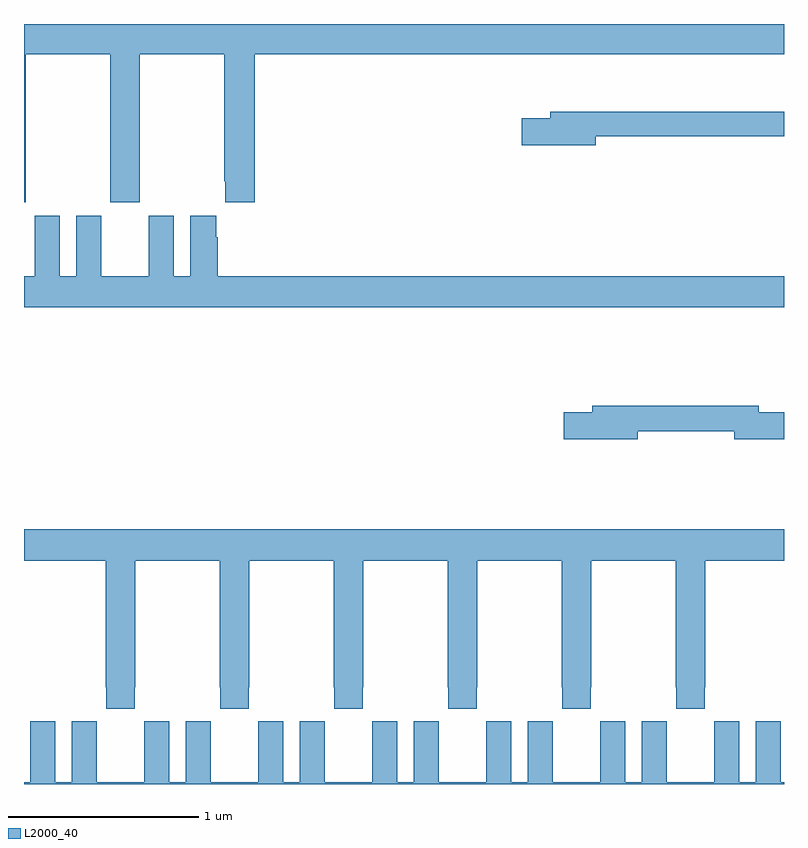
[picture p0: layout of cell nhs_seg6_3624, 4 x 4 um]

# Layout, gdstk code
import gdstk
lib = gdstk.Library(unit=1e-6, precision=1e-09)
def P(c, l, *ps):  # polygons
    for p in ps: c.add(gdstk.Polygon(p, *l))
L2000_40 = (2000, 40)

nhs_seg6_3624 = lib.new_cell('nhs_seg6_3624')
P(nhs_seg6_3624, L2000_40, [(323.01,943.34),(323.455,943.34),(323.455,942.561),(323.61,942.561),(323.61,943.34),(324.055,943.34),(324.055,942.673),(324.059,942.673),(324.059,942.561),(324.215,942.561),(324.215,943.34),(327,943.34),(327,943.5),(323,943.5),(323,942.561),(323.01,942.561)],
  [(326.008,942.91),(327,942.91),(327,943.039),(325.769,943.039),(325.769,943.005),(325.62,943.005),(325.62,942.863),(326.008,942.863)],
  [(327,942.172),(324.02,942.172),(324.02,942.377),(324.013,942.377),(324.013,942.49),(323.876,942.49),(323.876,942.172),(323.788,942.172),(323.788,942.49),(323.657,942.49),(323.657,942.172),(323.407,942.172),(323.407,942.49),(323.276,942.49),(323.276,942.172),(323.188,942.172),(323.188,942.49),(323.057,942.49),(323.057,942.172),(323,942.172),(323,942.008),(327,942.008)],
  [(326.23,941.356),(326.738,941.356),(326.738,941.314),(327,941.314),(327,941.456),(326.866,941.456),(326.866,941.492),(325.991,941.492),(325.991,941.456),(325.842,941.456),(325.842,941.314),(326.23,941.314)],
  [(323.583,940.009),(323.586,940.009),(323.586,940.676),(324.031,940.676),(324.031,940.009),(324.033,940.009),(324.033,939.897),(324.183,939.897),(324.183,940.009),(324.186,940.009),(324.186,940.676),(324.631,940.676),(324.631,940.009),(324.633,940.009),(324.633,939.897),(324.783,939.897),(324.783,940.009),(324.786,940.009),(324.786,940.676),(325.231,940.676),(325.231,940.009),(325.233,940.009),(325.233,939.897),(325.383,939.897),(325.383,940.009),(325.386,940.009),(325.386,940.676),(325.831,940.676),(325.831,940.009),(325.833,940.009),(325.833,939.897),(325.983,939.897),(325.983,940.009),(325.986,940.009),(325.986,940.676),(326.431,940.676),(326.431,940.009),(326.433,940.009),(326.433,939.897),(326.583,939.897),(326.583,940.009),(326.586,940.009),(326.586,940.676),(327,940.676),(327,940.84),(323,940.84),(323,940.676),(323.431,940.676),(323.431,940.009),(323.433,940.009),(323.433,939.897),(323.583,939.897)],
  [(327,939.508),(326.983,939.508),(326.983,939.716),(326.982,939.716),(326.982,939.829),(326.852,939.829),(326.852,939.508),(326.764,939.508),(326.764,939.829),(326.634,939.829),(326.634,939.716),(326.633,939.716),(326.633,939.508),(326.383,939.508),(326.383,939.716),(326.382,939.716),(326.382,939.829),(326.252,939.829),(326.252,939.508),(326.164,939.508),(326.164,939.829),(326.034,939.829),(326.034,939.716),(326.033,939.716),(326.033,939.508),(325.783,939.508),(325.783,939.716),(325.782,939.716),(325.782,939.829),(325.652,939.829),(325.652,939.508),(325.564,939.508),(325.564,939.829),(325.434,939.829),(325.434,939.716),(325.433,939.716),(325.433,939.508),(325.183,939.508),(325.183,939.716),(325.182,939.716),(325.182,939.829),(325.052,939.829),(325.052,939.508),(324.964,939.508),(324.964,939.829),(324.834,939.829),(324.834,939.716),(324.833,939.716),(324.833,939.508),(324.583,939.508),(324.583,939.716),(324.582,939.716),(324.582,939.829),(324.452,939.829),(324.452,939.508),(324.364,939.508),(324.364,939.829),(324.234,939.829),(324.234,939.716),(324.233,939.716),(324.233,939.508),(323.983,939.508),(323.983,939.716),(323.982,939.716),(323.982,939.829),(323.852,939.829),(323.852,939.508),(323.764,939.508),(323.764,939.829),(323.634,939.829),(323.634,939.716),(323.633,939.716),(323.633,939.508),(323.383,939.508),(323.383,939.716),(323.382,939.716),(323.382,939.829),(323.252,939.829),(323.252,939.508),(323.164,939.508),(323.164,939.829),(323.034,939.829),(323.034,939.716),(323.033,939.716),(323.033,939.508),(323,939.508),(323,939.5),(327,939.5)])

lib.write_gds('nhs_seg6_3624.gds')
